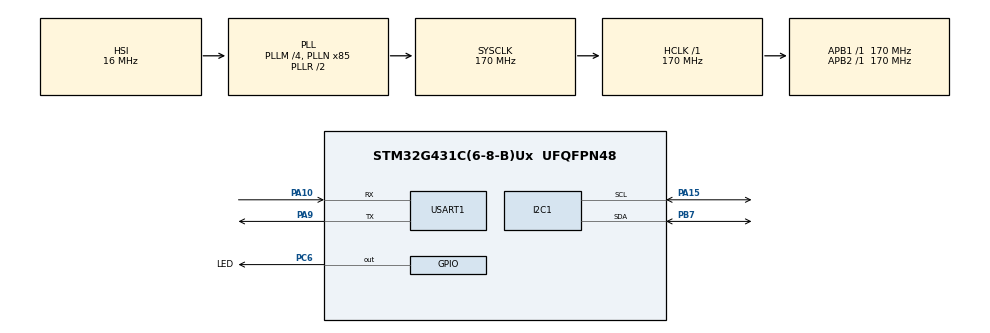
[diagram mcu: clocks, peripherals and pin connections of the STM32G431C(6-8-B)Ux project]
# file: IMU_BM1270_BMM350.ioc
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Dma.Request0=TIM1_UP
Dma.Request1=USART1_RX
Dma.Request2=USART1_TX
Dma.TIM1_UP.0.Direction=DMA_PERIPH_TO_MEMORY
Dma.TIM1_UP.0.EventEnable=DISABLE
Dma.TIM1_UP.0.Instance=DMA1_Channel2
Dma.TIM1_UP.0.MemDataAlignment=DMA_MDATAALIGN_HALFWORD
Dma.TIM1_UP.0.MemInc=DMA_MINC_ENABLE
Dma.TIM1_UP.0.Mode=DMA_NORMAL
Dma.TIM1_UP.0.PeriphDataAlignment=DMA_PDATAALIGN_HALFWORD
Dma.TIM1_UP.0.PeriphInc=DMA_PINC_DISABLE
Dma.TIM1_UP.0.Polarity=HAL_DMAMUX_REQ_GEN_RISING
Dma.TIM1_UP.0.Priority=DMA_PRIORITY_MEDIUM
Dma.TIM1_UP.0.RequestNumber=1
Dma.TIM1_UP.0.SignalID=NONE
Dma.TIM1_UP.0.SyncEnable=DISABLE
Dma.TIM1_UP.0.SyncPolarity=HAL_DMAMUX_SYNC_NO_EVENT
Dma.TIM1_UP.0.SyncRequestNumber=1
Dma.TIM1_UP.0.SyncSignalID=NONE
Dma.USART1_RX.1.Direction=DMA_PERIPH_TO_MEMORY
Dma.USART1_RX.1.EventEnable=DISABLE
Dma.USART1_RX.1.Instance=DMA1_Channel1
Dma.USART1_RX.1.MemDataAlignment=DMA_MDATAALIGN_BYTE
Dma.USART1_RX.1.MemInc=DMA_MINC_ENABLE
Dma.USART1_RX.1.Mode=DMA_NORMAL
Dma.USART1_RX.1.PeriphDataAlignment=DMA_PDATAALIGN_BYTE
Dma.USART1_RX.1.PeriphInc=DMA_PINC_DISABLE
Dma.USART1_RX.1.Polarity=HAL_DMAMUX_REQ_GEN_RISING
Dma.USART1_RX.1.Priority=DMA_PRIORITY_MEDIUM
Dma.USART1_RX.1.RequestNumber=1
Dma.USART1_RX.1.SignalID=NONE
Dma.USART1_RX.1.SyncEnable=DISABLE
Dma.USART1_RX.1.SyncPolarity=HAL_DMAMUX_SYNC_NO_EVENT
Dma.USART1_RX.1.SyncRequestNumber=1
Dma.USART1_RX.1.SyncSignalID=NONE
Dma.USART1_TX.2.Direction=DMA_MEMORY_TO_PERIPH
Dma.USART1_TX.2.EventEnable=DISABLE
Dma.USART1_TX.2.Instance=DMA1_Channel3
Dma.USART1_TX.2.MemDataAlignment=DMA_MDATAALIGN_BYTE
Dma.USART1_TX.2.MemInc=DMA_MINC_ENABLE
Dma.USART1_TX.2.Mode=DMA_NORMAL
Dma.USART1_TX.2.PeriphDataAlignment=DMA_PDATAALIGN_BYTE
Dma.USART1_TX.2.PeriphInc=DMA_PINC_DISABLE
Dma.USART1_TX.2.Polarity=HAL_DMAMUX_REQ_GEN_RISING
Dma.USART1_TX.2.Priority=DMA_PRIORITY_MEDIUM
Dma.USART1_TX.2.RequestNumber=1
Dma.USART1_TX.2.SignalID=NONE
Dma.USART1_TX.2.SyncEnable=DISABLE
Dma.USART1_TX.2.SyncPolarity=HAL_DMAMUX_SYNC_NO_EVENT
Dma.USART1_TX.2.SyncRequestNumber=1
Dma.USART1_TX.2.SyncSignalID=NONE
I2C1.Timing=0x40B285C2
Mcu.Family=STM32G4
Mcu.Name=STM32G431C(6-8-B)Ux
Mcu.Package=UFQFPN48
NVIC.DMA1_Channel1_IRQn=true\:0\:0\:false\:false\:true\:false\:true\:true
NVIC.DMA1_Channel2_IRQn=true\:0\:0\:false\:false\:true\:false\:true\:true
NVIC.DMA1_Channel3_IRQn=true\:0\:0\:false\:false\:true\:false\:true\:true
NVIC.PriorityGroup=NVIC_PRIORITYGROUP_4
NVIC.TIM1_UP_TIM16_IRQn=true\:0\:0\:false\:false\:true\:true\:true\:true
NVIC.USART1_IRQn=true\:0\:0\:false\:false\:true\:true\:true\:true
PA10.Mode=Asynchronous
PA10.Signal=USART1_RX
PA13.Mode=Serial_Wire
PA13.Signal=SYS_JTMS-SWDIO
PA14.Mode=Serial_Wire
PA14.Signal=SYS_JTCK-SWCLK
PA15.Mode=I2C
PA15.Signal=I2C1_SCL
PA9.Mode=Asynchronous
PA9.Signal=USART1_TX
PB7.Mode=I2C
PB7.Signal=I2C1_SDA
PC6.GPIO_Label=LED
PC6.Signal=GPIO_Output
PF0-OSC_IN.Mode=HSE-External-Oscillator
PF0-OSC_IN.Signal=RCC_OSC_IN
PF1-OSC_OUT.Mode=HSE-External-Oscillator
PF1-OSC_OUT.Signal=RCC_OSC_OUT
ProjectManager.HeapSize=0x200
ProjectManager.StackSize=0x400
ProjectManager.TargetToolchain=MDK-ARM V5.32
RCC.ADC12Freq_Value=170000000
RCC.AHBFreq_Value=170000000
RCC.APB1Freq_Value=170000000
RCC.APB1TimFreq_Value=170000000
RCC.APB2Freq_Value=170000000
RCC.APB2TimFreq_Value=170000000
RCC.CortexFreq_Value=170000000
RCC.EXTERNAL_CLOCK_VALUE=12288000
RCC.HCLKFreq_Value=170000000
RCC.HSE_VALUE=8000000
RCC.HSI48_VALUE=48000000
RCC.HSI_VALUE=16000000
RCC.LSE_VALUE=32768
RCC.PLLM=RCC_PLLM_DIV4
RCC.PLLN=85
RCC.SYSCLKFreq_VALUE=170000000
RCC.SYSCLKSource=RCC_SYSCLKSOURCE_PLLCLK
RCC.USBFreq_Value=170000000
RCC.VCOOutputFreq_Value=340000000
TIM1.CounterMode=TIM_COUNTERMODE_UP
TIM1.PeriodNoDither=9999
TIM1.Prescaler=16999
TIM2.PeriodNoDither=0
TIM2.Prescaler=169
USART1.VirtualMode-Asynchronous=VM_ASYNC
VP_SYS_VS_DBSignals.Mode=DisableDeadBatterySignals
VP_TIM1_VS_ClockSourceINT.Mode=Internal
VP_TIM2_VS_ClockSourceINT.Mode=Internal
board=custom

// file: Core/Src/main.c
/* USER CODE BEGIN Header */
/**
  ******************************************************************************
  * @file           : main.c
  * @brief          : Main program body
  ******************************************************************************
  * @attention
  *
  * Copyright (c) 2025 STMicroelectronics.
  * All rights reserved.
  *
  * This software is licensed under terms that can be found in the LICENSE file
  * in the root directory of this software component.
  * If no LICENSE file comes with this software, it is provided AS-IS.
  *
  ******************************************************************************
  */
/* USER CODE END Header */
#include "main.h"
#include "dma.h"
#include "i2c.h"
#include "tim.h"
#include "usart.h"
#include "gpio.h"

/* USER CODE BEGIN Includes */
#include <string.h>
#include "usart_printf.h"
#include "delay.h"
/* USER CODE END Includes */

/* USER CODE BEGIN PV */
uint8_t rx_buf[RX_BUF_SIZE];
uint8_t tx_buf[TX_BUF_SIZE];
volatile uint8_t tx_busy = 0; // 发送忙标志
/* USER CODE END PV */

void SystemClock_Config(void);

int main(void)
{

  /* USER CODE BEGIN 1 */
	#pragma import(__use_no_semihosting)
  /* USER CODE END 1 */

  /* MCU Configuration--------------------------------------------------------*/

  /* Reset of all peripherals, Initializes the Flash interface and the Systick. */
  HAL_Init();

  /* Configure the system clock */
  SystemClock_Config();

  /* Initialize all configured peripherals */
  MX_GPIO_Init();
  MX_DMA_Init();
  MX_USART1_UART_Init();
  MX_TIM1_Init();
  MX_I2C1_Init();
  MX_TIM2_Init();
  /* USER CODE BEGIN 2 */
	// 启动串口DMA接收
  HAL_UART_Receive_DMA(&huart1, rx_buf, RX_BUF_SIZE);

  // 启动定时器中断
  HAL_TIM_Base_Start_IT(&htim1);
  //启动串口中断
	__HAL_UART_ENABLE_IT(&huart1, UART_IT_IDLE);

	DWT_Delay_Init(); // 初始化DWT延时
	usart_printf_init(&huart1);

	//HAL_UART_Transmit(&huart1, (uint8_t*)"UART1_OK\r\n", 10,100);
	//printf("printf_ok\r\n");
	HAL_Delay(100);
	 printf("DMA printf test: %d\r\n", 123);

	 // 运行协议测试
	 // ANO_Protocol_Test();  // 取消注释以运行测试
  /* USER CODE END 2 */

  /* Infinite loop */
  while (1)
  {

    /* USER CODE BEGIN 3 */

//		HAL_GPIO_WritePin(GPIOC,GPIO_PIN_6,GPIO_PIN_SET);
//		delay_ms(500);
//		HAL_GPIO_WritePin(GPIOC,GPIO_PIN_6,GPIO_PIN_RESET);
//		delay_ms(500);

		/*
		HAL_UART_Transmit(&huart1, (uint8_t*)"UART1_OK\r\n", 10,100);
		printf("printf_ok\r\n");
		*/
		//printf("printf_ok\r\n");
		IMU_INIT_GETDATA();

    }
  /* USER CODE END 3 */
}

void SystemClock_Config(void)
{
  RCC_OscInitTypeDef RCC_OscInitStruct = {0};
  RCC_ClkInitTypeDef RCC_ClkInitStruct = {0};

  /** Configure the main internal regulator output voltage
  */
  HAL_PWREx_ControlVoltageScaling(PWR_REGULATOR_VOLTAGE_SCALE1_BOOST);

  /** Initializes the RCC Oscillators according to the specified parameters
  * in the RCC_OscInitTypeDef structure.
  */
  RCC_OscInitStruct.OscillatorType = RCC_OSCILLATORTYPE_HSI;
  RCC_OscInitStruct.HSIState = RCC_HSI_ON;
  RCC_OscInitStruct.HSICalibrationValue = RCC_HSICALIBRATION_DEFAULT;
  RCC_OscInitStruct.PLL.PLLState = RCC_PLL_ON;
  RCC_OscInitStruct.PLL.PLLSource = RCC_PLLSOURCE_HSI;
  RCC_OscInitStruct.PLL.PLLM = RCC_PLLM_DIV4;
  RCC_OscInitStruct.PLL.PLLN = 85;
  RCC_OscInitStruct.PLL.PLLP = RCC_PLLP_DIV2;
  RCC_OscInitStruct.PLL.PLLQ = RCC_PLLQ_DIV2;
  RCC_OscInitStruct.PLL.PLLR = RCC_PLLR_DIV2;
  if (HAL_RCC_OscConfig(&RCC_OscInitStruct) != HAL_OK)
  {
    Error_Handler();
  }

  /** Initializes the CPU, AHB and APB buses clocks
  */
  RCC_ClkInitStruct.ClockType = RCC_CLOCKTYPE_HCLK|RCC_CLOCKTYPE_SYSCLK
                              |RCC_CLOCKTYPE_PCLK1|RCC_CLOCKTYPE_PCLK2;
  RCC_ClkInitStruct.SYSCLKSource = RCC_SYSCLKSOURCE_PLLCLK;
  RCC_ClkInitStruct.AHBCLKDivider = RCC_SYSCLK_DIV1;
  RCC_ClkInitStruct.APB1CLKDivider = RCC_HCLK_DIV1;
  RCC_ClkInitStruct.APB2CLKDivider = RCC_HCLK_DIV1;

  if (HAL_RCC_ClockConfig(&RCC_ClkInitStruct, FLASH_LATENCY_4) != HAL_OK)
  {
    Error_Handler();
  }
}

/* USER CODE BEGIN 4 */
void UART1_IDLE_Callback(uint16_t len)
{
    if(len > 0)
    {
        HAL_UART_Transmit(&huart1, rx_buf, len, 100);
				memset(rx_buf, 0, RX_BUF_SIZE); // 清空缓存
    }
}

/*
void HAL_UART_TxCpltCallback(UART_HandleTypeDef *huart)
{
    if(huart->Instance == USART1)
    {
        tx_busy = 0;
    }
}
*/
/*
void HAL_TIM_PeriodElapsedCallback(TIM_HandleTypeDef *htim)
{
    if(htim->Instance == TIM1)
    {

        if(tx_busy == 0)
        {
            tx_busy = 1;
					  strcpy((char*)tx_buf, "Timer DMA Send!\r\n");
            HAL_UART_Transmit_DMA(&huart1, tx_buf, strlen((char*)tx_buf));
        }
    }
}
*/

/* USER CODE END 4 */

void Error_Handler(void)
{
  __disable_irq();
  while (1)
  {
  }
}
